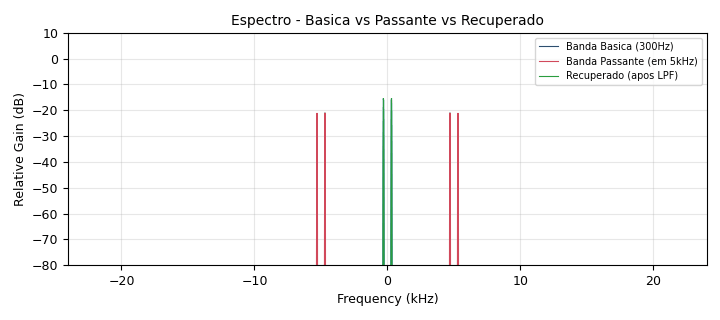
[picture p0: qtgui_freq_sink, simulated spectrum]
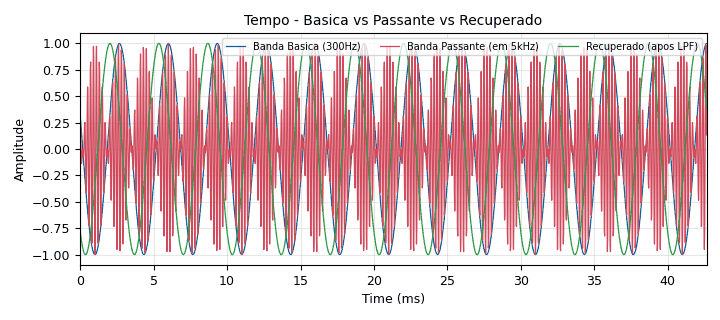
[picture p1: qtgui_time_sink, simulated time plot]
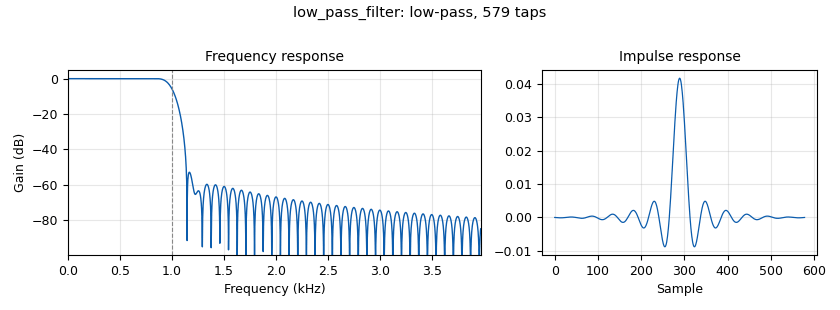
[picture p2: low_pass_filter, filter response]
options:
  parameters:
    author: Curso PriCom - UnB
    comment: |-
      Exemplo 09 - Banda Basica vs Passante
      Demonstra conversao de banda basica para banda passante e recuperacao do sinal.
    description: Banda Basica vs Passante
    generate_options: qt_gui
    id: exemplo_09_banda_basica_passante
    output_language: python
    title: Exemplo 09 - Banda Basica vs Passante
  states: {}

blocks:
- name: samp_rate
  id: variable
  parameters:
    comment: Taxa de amostragem
    value: '48000'
  states: {}
- name: note_info
  id: note
  parameters:
    comment: 'BANDA BASICA vs PASSANTE: O sinal de 300Hz e deslocado para 5kHz (upconversion). Para recuperar, multiplica-se pelo mesmo cosseno e filtra-se com LPF (downconversion).'
    note: Upconversion e Downconversion
  states: {}
- name: sig_baseband
  id: analog_sig_source_x
  parameters:
    amp: '1'
    comment: Sinal banda basica 300 Hz
    freq: '300'
    offset: '0'
    phase: '0'
    samp_rate: samp_rate
    type: float
    waveform: analog.GR_COS_WAVE
  states: {}
- name: sig_carrier
  id: analog_sig_source_x
  parameters:
    amp: '1'
    comment: Portadora 5 kHz (upconversion)
    freq: '5000'
    offset: '0'
    phase: '0'
    samp_rate: samp_rate
    type: float
    waveform: analog.GR_COS_WAVE
  states: {}
- name: sig_lo
  id: analog_sig_source_x
  parameters:
    amp: '2'
    comment: Oscilador local 5 kHz (downconversion)
    freq: '5000'
    offset: '0'
    phase: '0'
    samp_rate: samp_rate
    type: float
    waveform: analog.GR_COS_WAVE
  states: {}
- name: blocks_throttle
  id: blocks_throttle2
  parameters:
    samples_per_second: samp_rate
    type: float
  states: {}
- name: blocks_multiply_up
  id: blocks_multiply_xx
  parameters:
    comment: Upconversion m(t)*c(t)
    type: float
  states: {}
- name: blocks_multiply_down
  id: blocks_multiply_xx
  parameters:
    comment: Downconversion s(t)*LO(t)
    type: float
  states: {}
- name: low_pass_filter
  id: low_pass_filter
  parameters:
    comment: LPF para recuperar banda basica
    cutoff_freq: '1000'
    decim: '1'
    gain: '1'
    samp_rate: samp_rate
    type: fir_filter_fff
    width: '200'
    win: window.WIN_HAMMING
  states: {}
- name: qtgui_freq_sink
  id: qtgui_freq_sink_x
  parameters:
    bw: samp_rate
    comment: Espectros dos 3 estagios
    fc: '0'
    fftsize: '4096'
    grid: 'True'
    gui_hint: 0,0,1,1
    label1: Banda Basica (300Hz)
    label2: Banda Passante (em 5kHz)
    label3: Recuperado (apos LPF)
    name: '"Espectro - Basica vs Passante vs Recuperado"'
    nconnections: '3'
    type: float
    width1: '2'
    width2: '2'
    width3: '2'
    ymin: '-80'
  states: {}
- name: qtgui_time_sink
  id: qtgui_time_sink_x
  parameters:
    autoscale: 'True'
    grid: 'True'
    gui_hint: 1,0,1,1
    label1: Banda Basica (300Hz)
    label2: Banda Passante (em 5kHz)
    label3: Recuperado (apos LPF)
    name: '"Tempo - Basica vs Passante vs Recuperado"'
    nconnections: '3'
    size: '2048'
    srate: samp_rate
    type: float
    width1: '2'
    width2: '2'
    width3: '2'
    ymax: '2'
    ymin: '-2'
  states: {}

connections:
- [sig_baseband, '0', blocks_throttle, '0']
- [blocks_throttle, '0', blocks_multiply_up, '0']
- [sig_carrier, '0', blocks_multiply_up, '1']
- [blocks_multiply_up, '0', blocks_multiply_down, '0']
- [sig_lo, '0', blocks_multiply_down, '1']
- [blocks_multiply_down, '0', low_pass_filter, '0']
- [blocks_throttle, '0', qtgui_freq_sink, '0']
- [blocks_throttle, '0', qtgui_time_sink, '0']
- [blocks_multiply_up, '0', qtgui_freq_sink, '1']
- [blocks_multiply_up, '0', qtgui_time_sink, '1']
- [low_pass_filter, '0', qtgui_freq_sink, '2']
- [low_pass_filter, '0', qtgui_time_sink, '2']

metadata:
  file_format: 1
  grc_version: 3.10.12.0
